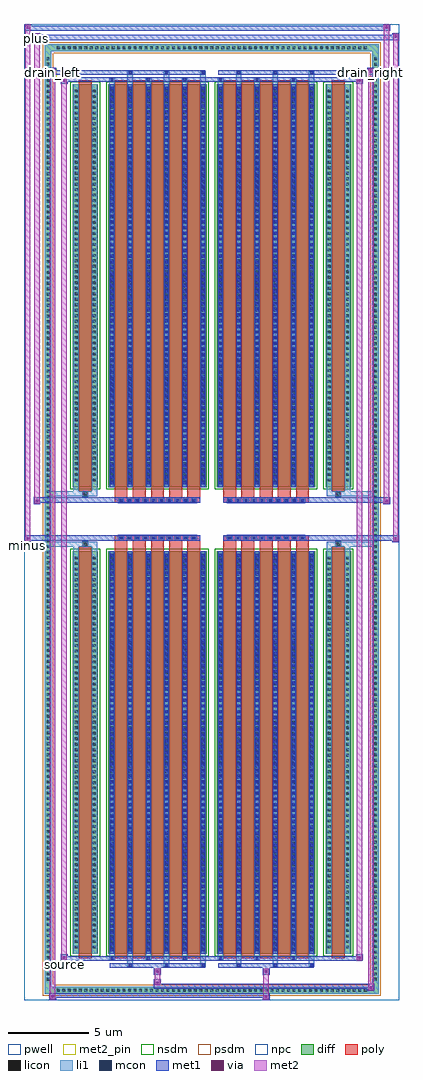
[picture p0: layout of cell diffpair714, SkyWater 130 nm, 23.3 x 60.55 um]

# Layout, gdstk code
import gdstk
lib = gdstk.Library(unit=1e-6, precision=5e-09)
def R(c, l, rs):  # rectangles x0, y0, x1, y1
    for r in rs: c.add(gdstk.rectangle(r[:2], r[2:], *l))
def A(c, l, x, y, w, h, nx, ny, dx, dy):  # array of equal rectangles
    R(c, l, [(x+i*dx, y+j*dy, x+i*dx+w, y+j*dy+h) for i in range(nx) for j in range(ny)])
def P(c, l, *ps):  # polygons
    for p in ps: c.add(gdstk.Polygon(p, *l))
pwell = (64, 44)
diff = (65, 20)
poly = (66, 20)
licon = (66, 44)
li1 = (67, 20)
mcon = (67, 44)
met1 = (68, 20)
via = (68, 44)
met2_pin = (69, 16)
met2 = (69, 20)
nsdm = (93, 44)
psdm = (94, 20)
npc = (95, 20)

diffpair714 = lib.new_cell('diffpair714')
R(diffpair714, pwell, [(-11.63,-29.84,11.63,30.71), (-8.95,-28.03,-0.01,-0.805), (0.01,-28.03,8.95,-0.805), (-8.95,0.805,-0.01,28.03), (0.01,0.805,8.95,28.03)])
A(diffpair714, diff, -9.725, -29.44, 0.41, 0.41, 57, 2, 0.34, 58.47)
A(diffpair714, diff, -10.36, -28.765, 0.41, 0.41, 1, 169, 0, 0.34)
A(diffpair714, diff, 9.95, -28.765, 0.41, 0.41, 1, 169, 0, 0.34)
R(diffpair714, diff, [(-9.725,-29.44,9.725,-29.03), (-10.36,-28.765,-9.95,28.765), (9.95,-28.765,10.36,28.765), (-8.64,-26.985,-7.06,-1.985), (-6.42,-26.985,-0.32,-1.985), (0.32,-26.985,6.42,-1.985), (7.06,-26.985,8.64,-1.985), (-8.64,1.985,-7.06,26.985), (-6.42,1.985,-0.32,26.985), (0.32,1.985,6.42,26.985), (7.06,1.985,8.64,26.985), (-9.725,29.03,9.725,29.44)])
P(diffpair714, diff, [(10.36,29.44),(-10.36,29.44),(-10.36,-29.03),(-9.95,-29.03),(-9.95,29.03),(9.95,29.03),(9.95,-29.03),(-9.95,-29.03),(-10.36,-29.03),(-10.36,-29.44),(10.36,-29.44)])
A(diffpair714, poly, -6.03, -27.235, 0.8, 25.5, 5, 2, 1.13, 28.97)
A(diffpair714, poly, 0.71, -27.235, 0.8, 25.5, 5, 2, 1.13, 28.97)
A(diffpair714, poly, -6.03, -1.735, 0.8, 0.4, 5, 2, 1.13, 3.07)
A(diffpair714, poly, 0.71, -1.735, 0.8, 0.4, 5, 2, 1.13, 3.07)
A(diffpair714, poly, -5.785, -1.335, 0.33, 0.33, 10, 2, 0.5, 2.34)
A(diffpair714, poly, 0.955, -1.335, 0.33, 0.33, 10, 2, 0.5, 2.34)
R(diffpair714, poly, [(-8.25,-27.235,-7.45,-1.735), (7.45,-27.235,8.25,-1.735), (-8.015,-1.735,-7.685,-1.405), (-8.015,-1.735,-7.685,-1.405), (7.685,-1.735,8.015,-1.405), (7.685,-1.735,8.015,-1.405), (-6.03,-1.335,-0.71,-1.005), (0.71,-1.335,6.03,-1.005), (-6.03,1.005,-0.71,1.335), (0.71,1.005,6.03,1.335), (-8.015,1.405,-7.685,1.735), (-8.015,1.405,-7.685,1.735), (7.685,1.405,8.015,1.735), (7.685,1.405,8.015,1.735), (-8.25,1.735,-7.45,27.235), (7.45,1.735,8.25,27.235)])
A(diffpair714, licon, -9.605, -29.32, 0.17, 0.17, 57, 2, 0.34, 58.47)
A(diffpair714, licon, -10.24, -28.645, 0.17, 0.17, 1, 169, 0, 0.34)
A(diffpair714, licon, 10.07, -28.645, 0.17, 0.17, 1, 169, 0, 0.34)
A(diffpair714, licon, -8.5, -26.64, 0.17, 0.17, 1, 72, 0, 0.34)
A(diffpair714, licon, -7.37, -26.64, 0.17, 0.17, 1, 72, 0, 0.34)
A(diffpair714, licon, -6.28, -26.64, 0.17, 0.17, 6, 72, 1.13, 0.34)
A(diffpair714, licon, 0.46, -26.64, 0.17, 0.17, 6, 72, 1.13, 0.34)
A(diffpair714, licon, 7.2, -26.64, 0.17, 0.17, 1, 72, 0, 0.34)
A(diffpair714, licon, 8.33, -26.64, 0.17, 0.17, 1, 72, 0, 0.34)
A(diffpair714, licon, -5.705, -1.255, 0.17, 0.17, 10, 2, 0.5, 2.34)
A(diffpair714, licon, 1.035, -1.255, 0.17, 0.17, 10, 2, 0.5, 2.34)
A(diffpair714, licon, -8.5, 2.33, 0.17, 0.17, 1, 72, 0, 0.34)
A(diffpair714, licon, -7.37, 2.33, 0.17, 0.17, 1, 72, 0, 0.34)
A(diffpair714, licon, -6.28, 2.33, 0.17, 0.17, 6, 72, 1.13, 0.34)
A(diffpair714, licon, 0.46, 2.33, 0.17, 0.17, 6, 72, 1.13, 0.34)
A(diffpair714, licon, 7.2, 2.33, 0.17, 0.17, 1, 72, 0, 0.34)
A(diffpair714, licon, 8.33, 2.33, 0.17, 0.17, 1, 72, 0, 0.34)
R(diffpair714, licon, [(-7.935,-1.655,-7.765,-1.485), (7.765,-1.655,7.935,-1.485), (-7.935,1.485,-7.765,1.655), (7.765,1.485,7.935,1.655)])
A(diffpair714, li1, -9.685, -29.4, 0.33, 0.33, 57, 2, 0.34, 58.47)
A(diffpair714, li1, -10.32, -28.725, 0.33, 0.33, 1, 169, 0, 0.34)
A(diffpair714, li1, 9.99, -28.725, 0.33, 0.33, 1, 169, 0, 0.34)
A(diffpair714, li1, -5.23, -27.79, 0.33, 0.805, 3, 2, 2.26, 54.775)
A(diffpair714, li1, -5.15, -27.79, 0.17, 0.17, 3, 2, 2.26, 55.41)
A(diffpair714, li1, 1.51, -27.79, 0.33, 0.805, 3, 2, 2.26, 54.775)
A(diffpair714, li1, 1.59, -27.79, 0.17, 0.17, 3, 2, 2.26, 55.41)
A(diffpair714, li1, -6.36, -27.36, 0.33, 0.375, 3, 2, 2.26, 54.345)
A(diffpair714, li1, -6.28, -27.36, 0.17, 0.17, 3, 2, 2.26, 54.55)
A(diffpair714, li1, 0.38, -27.36, 0.33, 0.375, 3, 2, 2.26, 54.345)
A(diffpair714, li1, 0.46, -27.36, 0.17, 0.17, 3, 2, 2.26, 54.55)
A(diffpair714, li1, -6.36, -26.985, 0.33, 25, 6, 2, 1.13, 28.97)
A(diffpair714, li1, 0.38, -26.985, 0.33, 25, 6, 2, 1.13, 28.97)
A(diffpair714, li1, -6.28, -26.81, 0.17, 0.17, 6, 69, 1.13, 0.36)
A(diffpair714, li1, -6.28, -26.81, 0.17, 24.65, 6, 2, 1.13, 28.97)
A(diffpair714, li1, 0.46, -26.81, 0.17, 0.17, 6, 69, 1.13, 0.36)
A(diffpair714, li1, 0.46, -26.81, 0.17, 24.65, 6, 2, 1.13, 28.97)
A(diffpair714, li1, -8.58, -26.72, 0.33, 0.33, 1, 72, 0, 0.34)
A(diffpair714, li1, -7.45, -26.72, 0.33, 0.33, 1, 72, 0, 0.34)
A(diffpair714, li1, -6.36, -26.72, 0.33, 0.33, 6, 72, 1.13, 0.34)
A(diffpair714, li1, 0.38, -26.72, 0.33, 0.33, 6, 72, 1.13, 0.34)
A(diffpair714, li1, 7.12, -26.72, 0.33, 0.33, 1, 72, 0, 0.34)
A(diffpair714, li1, 8.25, -26.72, 0.33, 0.33, 1, 72, 0, 0.34)
A(diffpair714, li1, -5.785, -1.335, 0.33, 0.33, 10, 2, 0.5, 2.34)
A(diffpair714, li1, 0.955, -1.335, 0.33, 0.33, 10, 2, 0.5, 2.34)
A(diffpair714, li1, -6.28, 2.16, 0.17, 0.17, 6, 69, 1.13, 0.36)
A(diffpair714, li1, 0.46, 2.16, 0.17, 0.17, 6, 69, 1.13, 0.36)
A(diffpair714, li1, -8.58, 2.25, 0.33, 0.33, 1, 72, 0, 0.34)
A(diffpair714, li1, -7.45, 2.25, 0.33, 0.33, 1, 72, 0, 0.34)
A(diffpair714, li1, -6.36, 2.25, 0.33, 0.33, 6, 72, 1.13, 0.34)
A(diffpair714, li1, 0.38, 2.25, 0.33, 0.33, 6, 72, 1.13, 0.34)
A(diffpair714, li1, 7.12, 2.25, 0.33, 0.33, 1, 72, 0, 0.34)
A(diffpair714, li1, 8.25, 2.25, 0.33, 0.33, 1, 72, 0, 0.34)
R(diffpair714, li1, [(-10.36,-29.44,-9.95,-29.03), (-10.36,-29.44,-9.95,-29.03), (-9.95,-29.44,9.95,-29.03), (9.95,-29.44,10.36,-29.03), (9.95,-29.44,10.36,-29.03), (-10.36,-29.03,-9.95,29.03), (9.95,-29.03,10.36,29.03), (-8.58,-26.985,-8.25,-1.985), (-7.45,-26.985,-7.12,-1.985), (7.12,-26.985,7.45,-1.985), (8.25,-26.985,8.58,-1.985), (-8.58,-1.985,-8.25,-1.405), (-7.45,-1.985,-7.12,-1.405), (7.12,-1.985,7.45,-1.405), (8.25,-1.985,8.58,-1.405), (-10.36,-1.735,-8.015,-1.405), (-8.58,-1.735,-8.015,-1.405), (-8.015,-1.735,-7.685,-1.405), (-7.685,-1.735,-7.12,-1.405), (7.12,-1.735,7.685,-1.405), (7.685,-1.735,8.015,-1.405), (7.685,-1.735,10.36,-1.405), (8.015,-1.735,8.58,-1.405), (-10.36,1.405,-8.015,1.735), (-8.58,1.405,-8.015,1.735), (-8.58,1.405,-8.25,1.985), (-8.015,1.405,-7.685,1.735), (-7.685,1.405,-7.12,1.735), (-7.45,1.405,-7.12,1.985), (7.12,1.405,7.685,1.735), (7.12,1.405,7.45,1.985), (7.685,1.405,8.015,1.735), (7.685,1.405,10.36,1.735), (8.015,1.405,8.58,1.735), (8.25,1.405,8.58,1.985), (-8.58,1.985,-8.25,26.985), (-7.45,1.985,-7.12,26.985), (7.12,1.985,7.45,26.985), (8.25,1.985,8.58,26.985), (-10.36,29.03,-9.95,29.44), (-10.36,29.03,-9.95,29.44), (-9.95,29.03,9.95,29.44), (9.95,29.03,10.36,29.44), (9.95,29.03,10.36,29.44)])
A(diffpair714, mcon, -5.15, -27.79, 0.17, 0.17, 3, 2, 2.26, 55.41)
A(diffpair714, mcon, 1.59, -27.79, 0.17, 0.17, 3, 2, 2.26, 55.41)
A(diffpair714, mcon, -6.28, -27.36, 0.17, 0.17, 3, 2, 2.26, 54.55)
A(diffpair714, mcon, 0.46, -27.36, 0.17, 0.17, 3, 2, 2.26, 54.55)
A(diffpair714, mcon, -6.28, -26.81, 0.17, 0.17, 6, 69, 1.13, 0.36)
A(diffpair714, mcon, 0.46, -26.81, 0.17, 0.17, 6, 69, 1.13, 0.36)
A(diffpair714, mcon, -5.705, -1.255, 0.17, 0.17, 10, 2, 0.5, 2.34)
A(diffpair714, mcon, 1.035, -1.255, 0.17, 0.17, 10, 2, 0.5, 2.34)
A(diffpair714, mcon, -6.28, 2.16, 0.17, 0.17, 6, 69, 1.13, 0.36)
A(diffpair714, mcon, 0.46, 2.16, 0.17, 0.17, 6, 69, 1.13, 0.36)
A(diffpair714, met1, -5.21, -27.85, 0.29, 0.29, 3, 2, 2.26, 55.41)
A(diffpair714, met1, 1.53, -27.85, 0.29, 0.29, 3, 2, 2.26, 55.41)
A(diffpair714, met1, -6.34, -27.42, 0.29, 0.29, 3, 2, 2.26, 54.55)
A(diffpair714, met1, 0.4, -27.42, 0.29, 0.29, 3, 2, 2.26, 54.55)
A(diffpair714, met1, -6.34, -26.985, 0.29, 25, 6, 2, 1.13, 28.97)
A(diffpair714, met1, 0.4, -26.985, 0.29, 25, 6, 2, 1.13, 28.97)
A(diffpair714, met1, -6.34, -26.87, 0.29, 0.29, 6, 69, 1.13, 0.36)
A(diffpair714, met1, 0.4, -26.87, 0.29, 0.29, 6, 69, 1.13, 0.36)
A(diffpair714, met1, -5.765, -1.315, 0.29, 0.29, 10, 2, 0.5, 2.34)
A(diffpair714, met1, 0.975, -1.315, 0.29, 0.29, 10, 2, 0.5, 2.34)
A(diffpair714, met1, -6.34, 2.1, 0.29, 0.29, 6, 69, 1.13, 0.36)
A(diffpair714, met1, 0.4, 2.1, 0.29, 0.29, 6, 69, 1.13, 0.36)
R(diffpair714, met1, [(-10.09,-29.84,-9.66,-29.41), (3.155,-29.84,3.585,-29.41), (-10.09,-29.7,3.585,-29.41), (9.66,-29.27,10.09,-28.84), (-3.585,-29.13,10.09,-28.84), (-3.585,-28.99,-3.155,-28.56), (-3.585,-28.28,-3.155,-27.85), (3.155,-28.28,3.585,-27.85), (-6.34,-27.85,-0.4,-27.56), (0.4,-27.85,6.34,-27.56), (-9.38,-27.42,-8.95,-26.99), (-9.38,-27.42,-6.34,-27.13), (-6.34,-27.42,-0.4,-27.13), (-0.4,-27.42,0.4,-27.13), (0.4,-27.42,6.34,-27.13), (6.34,-27.42,9.38,-27.13), (8.95,-27.42,9.38,-26.99), (-11.63,-1.435,-11.2,-1.005), (11.2,-1.435,11.63,-1.005), (-11.63,-1.335,-0.71,-1.005), (-6.03,-1.335,-0.71,-1.005), (0.71,-1.335,6.03,-1.005), (0.71,-1.335,11.63,-1.005), (-11.06,0.905,-10.63,1.335), (10.63,0.905,11.06,1.335), (-11.06,1.005,-6.03,1.335), (-6.03,1.005,-0.71,1.335), (0.71,1.005,6.03,1.335), (6.03,1.005,11.06,1.335), (-9.38,26.99,-8.95,27.42), (8.95,26.99,9.38,27.42), (-9.38,27.13,-6.34,27.42), (-6.34,27.13,-0.4,27.42), (-0.4,27.13,0.4,27.42), (0.4,27.13,6.34,27.42), (6.34,27.13,9.38,27.42), (-10.09,27.56,-9.66,27.99), (-10.09,27.56,-6.34,27.85), (-6.34,27.56,-0.4,27.85), (0.4,27.56,6.34,27.85), (6.34,27.56,10.09,27.85), (9.66,27.56,10.09,27.99), (-11.06,29.71,-10.63,30.14), (-11.06,29.71,-8.95,30.04), (-8.95,29.71,8.95,30.04), (8.95,29.71,11.63,30.04), (11.2,29.71,11.63,30.14), (-11.63,30.28,-11.2,30.71), (-11.63,30.28,-8.95,30.61), (-8.95,30.28,8.95,30.61), (8.95,30.28,11.06,30.61), (10.63,30.28,11.06,30.71)])
R(diffpair714, via, [(-9.95,-29.7,-9.8,-29.55), (3.295,-29.7,3.445,-29.55), (9.8,-29.13,9.95,-28.98), (-3.445,-28.85,-3.295,-28.7), (-3.445,-28.14,-3.295,-27.99), (3.295,-28.14,3.445,-27.99), (-9.24,-27.28,-9.09,-27.13), (9.09,-27.28,9.24,-27.13), (-11.49,-1.295,-11.34,-1.145), (11.34,-1.295,11.49,-1.145), (-10.92,1.045,-10.77,1.195), (10.77,1.045,10.92,1.195), (-9.24,27.13,-9.09,27.28), (9.09,27.13,9.24,27.28), (-9.95,27.7,-9.8,27.85), (9.8,27.7,9.95,27.85), (-10.92,29.85,-10.77,30), (11.34,29.85,11.49,30), (-11.49,30.42,-11.34,30.57), (10.77,30.42,10.92,30.57)])
R(diffpair714, met2_pin, [(-9.415,-27.87,-8.915,-27.37), (-11.665,-1.885,-11.165,-1.385), (-10.125,27.44,-9.625,27.94), (9.625,27.44,10.125,27.94), (-11.095,29.59,-10.595,30.09)])
R(diffpair714, met2, [(-10.04,-29.79,-9.71,-29.46), (-10.04,-29.79,-9.71,27.94), (3.205,-29.79,3.535,-29.46), (3.205,-29.46,3.535,-28.23), (9.71,-29.22,10.04,-28.89), (9.71,-29.22,10.04,27.94), (-3.535,-28.94,-3.205,-28.61), (-3.535,-28.61,-3.205,-28.23), (-3.535,-28.23,-3.205,-27.9), (3.205,-28.23,3.535,-27.9), (-9.33,-27.37,-9,-27.04), (-9.33,-27.37,-9,27.37), (9,-27.37,9.33,-27.04), (9,-27.37,9.33,27.37), (-11.58,-1.385,-11.25,-1.055), (-11.58,-1.385,-11.25,30.66), (11.25,-1.385,11.58,-1.055), (11.25,-1.385,11.58,30.09), (-11.01,0.955,-10.68,1.285), (-11.01,0.955,-10.68,30.09), (10.68,0.955,11.01,1.285), (10.68,0.955,11.01,30.66), (-9.33,27.04,-9,27.37), (9,27.04,9.33,27.37), (-10.04,27.61,-9.71,27.94), (9.71,27.61,10.04,27.94), (-11.01,29.76,-10.68,30.09), (11.25,29.76,11.58,30.09), (-11.58,30.33,-11.25,30.66), (10.68,30.33,11.01,30.66)])
P(diffpair714, met2, [(11.58,-1.385),(11.58,-1.385),(11.58,-1.055),(11.58,-1.055)],
  [(11.58,29.76),(11.58,29.76),(11.58,30.09),(11.58,30.09)],
  [(-11.25,-1.385),(-11.25,-1.385),(-11.25,-1.055),(-11.25,-1.055)],
  [(-11.25,30.33),(-11.25,30.33),(-11.25,30.66),(-11.25,30.66)],
  [(11.01,0.955),(11.01,0.955),(11.01,1.285),(11.01,1.285)],
  [(11.01,30.33),(11.01,30.33),(11.01,30.66),(11.01,30.66)],
  [(-10.68,0.955),(-10.68,0.955),(-10.68,1.285),(-10.68,1.285)],
  [(-10.68,29.76),(-10.68,29.76),(-10.68,30.09),(-10.68,30.09)],
  [(-9.71,-29.79),(-9.71,-29.79),(-9.71,-29.46),(-9.71,-29.46)],
  [(-9.71,27.61),(-9.71,27.61),(-9.71,27.94),(-9.71,27.94)],
  [(10.04,-29.22),(10.04,-29.22),(10.04,-28.89),(10.04,-28.89)],
  [(10.04,27.61),(10.04,27.61),(10.04,27.94),(10.04,27.94)],
  [(-9,-27.37),(-9,-27.37),(-9,-27.04),(-9,-27.04)],
  [(-9,27.04),(-9,27.04),(-9,27.37),(-9,27.37)],
  [(9.33,-27.37),(9.33,-27.37),(9.33,-27.04),(9.33,-27.04)],
  [(9.33,27.04),(9.33,27.04),(9.33,27.37),(9.33,27.37)])
R(diffpair714, nsdm, [(-8.77,-27.115,-6.93,-1.855), (-6.55,-27.115,-0.19,-1.855), (0.19,-27.115,6.55,-1.855), (6.93,-27.115,8.77,-1.855), (-8.77,1.855,-6.93,27.115), (-6.55,1.855,-0.19,27.115), (0.19,1.855,6.55,27.115), (6.93,1.855,8.77,27.115)])
P(diffpair714, psdm, [(10.49,29.57),(-10.49,29.57),(-10.49,-28.9),(-9.82,-28.9),(-9.82,28.9),(9.82,28.9),(9.82,-28.9),(-9.82,-28.9),(-10.49,-28.9),(-10.49,-29.57),(10.49,-29.57)])
A(diffpair714, npc, -5.805, -1.355, 0.37, 0.37, 10, 2, 0.5, 2.34)
A(diffpair714, npc, 0.935, -1.355, 0.37, 0.37, 10, 2, 0.5, 2.34)
R(diffpair714, npc, [(-8.035,-1.755,-7.665,-1.385), (7.665,-1.755,8.035,-1.385), (-5.805,-1.355,-4.935,-0.985), (-5.805,-1.355,-4.935,-0.985), (-5.305,-1.355,-4.435,-0.985), (-5.305,-1.355,-4.435,-0.985), (-4.805,-1.355,-3.935,-0.985), (-4.805,-1.355,-3.935,-0.985), (-4.305,-1.355,-3.435,-0.985), (-4.305,-1.355,-3.435,-0.985), (-3.805,-1.355,-2.935,-0.985), (-3.805,-1.355,-2.935,-0.985), (-3.305,-1.355,-2.435,-0.985), (-3.305,-1.355,-2.435,-0.985), (-2.805,-1.355,-1.935,-0.985), (-2.805,-1.355,-1.935,-0.985), (-2.305,-1.355,-1.435,-0.985), (-2.305,-1.355,-1.435,-0.985), (-1.805,-1.355,-0.935,-0.985), (-1.805,-1.355,-0.935,-0.985), (0.935,-1.355,1.805,-0.985), (0.935,-1.355,1.805,-0.985), (1.435,-1.355,2.305,-0.985), (1.435,-1.355,2.305,-0.985), (1.935,-1.355,2.805,-0.985), (1.935,-1.355,2.805,-0.985), (2.435,-1.355,3.305,-0.985), (2.435,-1.355,3.305,-0.985), (2.935,-1.355,3.805,-0.985), (2.935,-1.355,3.805,-0.985), (3.435,-1.355,4.305,-0.985), (3.435,-1.355,4.305,-0.985), (3.935,-1.355,4.805,-0.985), (3.935,-1.355,4.805,-0.985), (4.435,-1.355,5.305,-0.985), (4.435,-1.355,5.305,-0.985), (4.935,-1.355,5.805,-0.985), (4.935,-1.355,5.805,-0.985), (-5.805,0.985,-4.935,1.355), (-5.805,0.985,-4.935,1.355), (-5.305,0.985,-4.435,1.355), (-5.305,0.985,-4.435,1.355), (-4.805,0.985,-3.935,1.355), (-4.805,0.985,-3.935,1.355), (-4.305,0.985,-3.435,1.355), (-4.305,0.985,-3.435,1.355), (-3.805,0.985,-2.935,1.355), (-3.805,0.985,-2.935,1.355), (-3.305,0.985,-2.435,1.355), (-3.305,0.985,-2.435,1.355), (-2.805,0.985,-1.935,1.355), (-2.805,0.985,-1.935,1.355), (-2.305,0.985,-1.435,1.355), (-2.305,0.985,-1.435,1.355), (-1.805,0.985,-0.935,1.355), (-1.805,0.985,-0.935,1.355), (0.935,0.985,1.805,1.355), (0.935,0.985,1.805,1.355), (1.435,0.985,2.305,1.355), (1.435,0.985,2.305,1.355), (1.935,0.985,2.805,1.355), (1.935,0.985,2.805,1.355), (2.435,0.985,3.305,1.355), (2.435,0.985,3.305,1.355), (2.935,0.985,3.805,1.355), (2.935,0.985,3.805,1.355), (3.435,0.985,4.305,1.355), (3.435,0.985,4.305,1.355), (3.935,0.985,4.805,1.355), (3.935,0.985,4.805,1.355), (4.435,0.985,5.305,1.355), (4.435,0.985,5.305,1.355), (4.935,0.985,5.805,1.355), (4.935,0.985,5.805,1.355), (-8.035,1.385,-7.665,1.755), (7.665,1.385,8.035,1.755)])
diffpair714.add(gdstk.Label('minus', (-11.415,-1.635), layer=69, texttype=5))
diffpair714.add(gdstk.Label('drain_right', (9.875,27.69), layer=69, texttype=5))
diffpair714.add(gdstk.Label('drain_left', (-9.875,27.69), layer=69, texttype=5))
diffpair714.add(gdstk.Label('source', (-9.165,-27.62), layer=69, texttype=5))
diffpair714.add(gdstk.Label('plus', (-10.845,29.84), layer=69, texttype=5))

lib.write_gds('diffpair714.gds')
